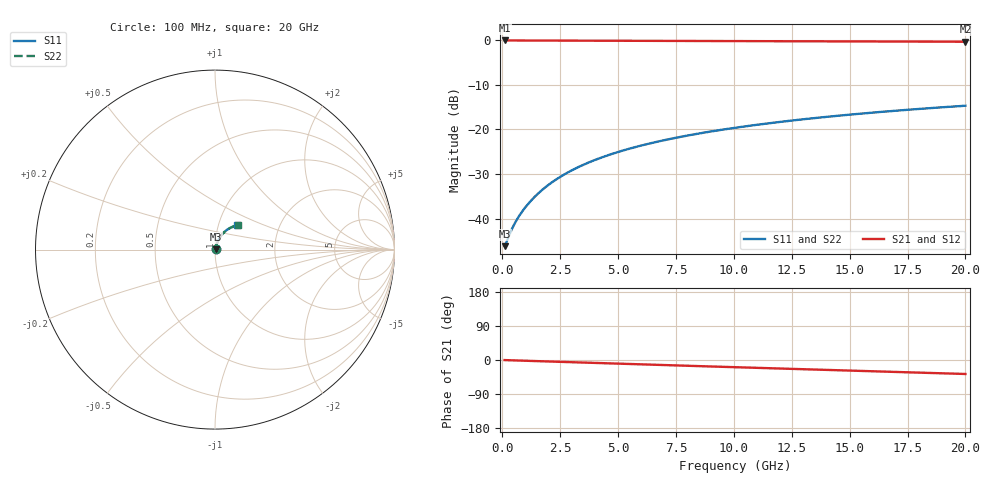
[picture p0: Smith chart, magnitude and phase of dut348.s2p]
! Touchstone file exported from HFSS 2026.1.0
!  File:  C:/ffzhzh/LocalFiles/Ansys_Project_Files/temp_train_TMRDL_348_1783003951_4048.aedt
!  Generated:  10:53:39 PM Jul  2, 2026
!  Design:  TMRDL
!  Project:  temp_train_TMRDL_348_1783003951_4048
! Variables:
!  h_bsmrdl = 2um
!  h_ox = 20um
!  h_rdl = 5um
!  h_sub = 80um
!  h_tmrdl = 4.29um
!  h_tsv = 80um
!  h_via = 3um
!  l_bsmrdl = 300um
!  l_sub = 1044.37um
!  l_tmrdl = 644.37um
!  m_sub = 200um
!  pitch = 19.14um
!  r_tsv = 6um
!  s_tmrdl = 10um
!  w_bsmrdl = 18um
!  w_sub = 500um
!  w_tmrdl = 11.51um
!  x_tsv_center1 = 650.125um
!  x_tsv_center2 = 968.125um
!  x_tsv_center3 = 1624.005um
!  x_tsv_center4 = 1942.005um
!  x_tsv_center5 = 2597.885um
!  x_tsv_center6 = 2915.885um
# GHz S MA R 50.000000
! Terminal data exported
! Port[1] = TM_RDL1_1_T1
! Port[2] = TM_RDL1_1_T2
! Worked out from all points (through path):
!   200 points, 100 MHz to 20 GHz, reference 50 ohm
!   highest |S21| = -0.04 dB at 100 MHz (marker M1); lowest = -0.3 dB at 20 GHz (marker M2)
!   group delay of S21, straight-line fit = 5.1 ps
!   lowest |S11| = -46.2 dB at 100 MHz (marker M3), VSWR 1.01, Z = 50.5 + j0.144 ohm
!   |S11| at or under -10 dB: start of sweep to end of sweep
!   |S22| runs from -46.2 to -14.7 dB; largest |S21 - S12| = 3.2e-15
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0.1  0.004902 17.0  0.9953 -0.2  0.9953 -0.2  0.004902 17.0
! Gamma 0 0 0 0
! Port Impedance 50 0 50 0
0.4  0.007486 44.5  0.9947 -0.8  0.9947 -0.8  0.00749 44.5
0.6  0.009437 52.4  0.9944 -1.2  0.9944 -1.2  0.009446 52.4
0.7  0.01042 55.2  0.9942 -1.4  0.9942 -1.4  0.01043 55.2
0.9  0.01241 59.6  0.994 -1.8  0.994 -1.8  0.01242 59.6
1.1  0.01444 62.9  0.9938 -2.2  0.9938 -2.2  0.01445 62.8
1.3  0.01651 65.3  0.9937 -2.6  0.9937 -2.6  0.01652 65.2
1.5  0.01861 67.1  0.9935 -2.9  0.9935 -2.9  0.01862 67.0
1.8  0.02181 69.0  0.9933 -3.5  0.9933 -3.5  0.02182 68.9
2.3  0.02719 70.8  0.9928 -4.5  0.9928 -4.5  0.0272 70.8
2.9  0.03367 71.7  0.9921 -5.6  0.9921 -5.6  0.03368 71.7
3.5  0.0401 71.9  0.9913 -6.8  0.9913 -6.8  0.04011 71.8
4.2  0.04752 71.5  0.9903 -8.1  0.9903 -8.1  0.04753 71.4
5  0.05583 70.7  0.9891 -9.6  0.9891 -9.6  0.05584 70.6
5.9  0.06496 69.6  0.9876 -11.3  0.9876 -11.3  0.06498 69.5
6.8  0.07386 68.3  0.986 -13.0  0.986 -13.0  0.07389 68.2
8.3  0.08822 66.0  0.9834 -15.8  0.9834 -15.8  0.08826 65.8
10.1  0.1048 63.2  0.9802 -19.1  0.9802 -19.1  0.1048 63.0
11.7  0.1189 60.6  0.9774 -22.0  0.9774 -22.0  0.119 60.4
13.4  0.1334 57.9  0.9744 -25.1  0.9744 -25.1  0.1334 57.6
16.7  0.1599 52.6  0.9686 -31.0  0.9686 -31.0  0.1601 52.3
20  0.1844 47.3  0.9629 -36.9  0.9629 -36.9  0.1845 46.9
